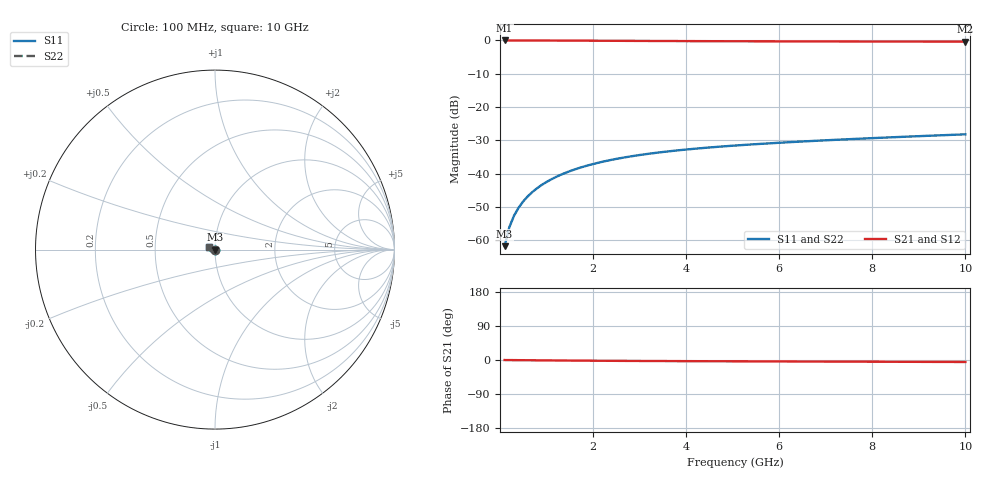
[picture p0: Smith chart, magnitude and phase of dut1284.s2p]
! Touchstone file exported from HFSS 2024.1.0
!  File:  C:/UserFiles/LocalFiles/RDL_TSV_Batchsim/temp_TSV1_1284_1780255575.aedt
!  Generated:  03:33:22 AM Jun  1, 2026
!  Design:  TSV1
!  Project:  temp_TSV1_1284_1780255575
!  Setup:  Setup1
!  Solution:  Sweep
! Variables:
!  dtsv = 6.9um
!  hbump = 3um
!  htsv = 79.38um
!  lrdl = 252.1521522um
!  p = 40
!  p1 = 49.14um
!  t = 500um
!  trdl = 3um
!  wrdl = 24.89489489um
# GHz S MA R 50.000000
! Terminal data exported
! Port[1] = TSV22_T1
! Port[2] = TSV22_T2
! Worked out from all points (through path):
!   100 points, 100 MHz to 10 GHz, reference 50 ohm
!   highest |S21| = 0.00 dB at 100 MHz (marker M1); lowest = -0.4 dB at 10 GHz (marker M2)
!   lowest |S11| = -61.8 dB at 100 MHz (marker M3), VSWR 1.00, Z = 50 - j0.0771 ohm
!   |S11| at or under -10 dB: start of sweep to end of sweep
!   |S22| runs from -61.8 to -28.2 dB; largest |S21 - S12| = 7.3e-15
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0.1  0.000817 -70.5  0.9997 -0.1  0.9997 -0.1  0.000817 -70.5
! Gamma 0 0 0 0
! Port Impedance 50 0 50 0
0.2  0.001565 -82.9  0.9996 -0.2  0.9996 -0.2  0.001565 -82.9
0.3  0.002326 -88.6  0.9994 -0.3  0.9994 -0.3  0.002326 -88.6
0.4  0.003086 -92.5  0.9992 -0.4  0.9992 -0.4  0.003086 -92.5
0.5  0.003842 -95.6  0.999 -0.5  0.999 -0.5  0.003842 -95.6
0.6  0.004593 -98.3  0.9987 -0.6  0.9987 -0.6  0.004593 -98.3
0.7  0.005336 -100.8  0.9983 -0.7  0.9983 -0.7  0.005336 -100.8
0.8  0.006071 -103.2  0.998 -0.8  0.998 -0.8  0.006071 -103.2
0.9  0.006797 -105.5  0.9975 -0.9  0.9975 -0.9  0.006797 -105.5
1.1  0.008217 -109.8  0.9965 -1.1  0.9965 -1.1  0.008217 -109.8
1.4  0.01026 -115.8  0.9948 -1.4  0.9948 -1.4  0.01026 -115.8
1.6  0.01155 -119.7  0.9936 -1.6  0.9936 -1.6  0.01155 -119.7
1.8  0.01279 -123.4  0.9922 -1.7  0.9922 -1.7  0.01279 -123.4
2.1  0.01454 -128.6  0.9901 -2.0  0.9901 -2.0  0.01454 -128.6
2.5  0.01668 -135.3  0.9873 -2.2  0.9873 -2.2  0.01668 -135.3
2.9  0.01861 -141.4  0.9845 -2.5  0.9845 -2.5  0.01861 -141.4
3.4  0.02077 -148.5  0.9813 -2.7  0.9813 -2.7  0.02077 -148.5
4.2  0.02375 -158.6  0.9767 -3.1  0.9767 -3.1  0.02375 -158.6
5.1  0.0266 -168.4  0.9724 -3.5  0.9724 -3.5  0.0266 -168.4
6.7  0.03096 177.3  0.9669 -4.1  0.9669 -4.1  0.03096 177.3
8.4  0.03515 165.2  0.963 -4.7  0.963 -4.7  0.03515 165.2
10  0.03898 156.0  0.9603 -5.2  0.9603 -5.2  0.03898 156.0
